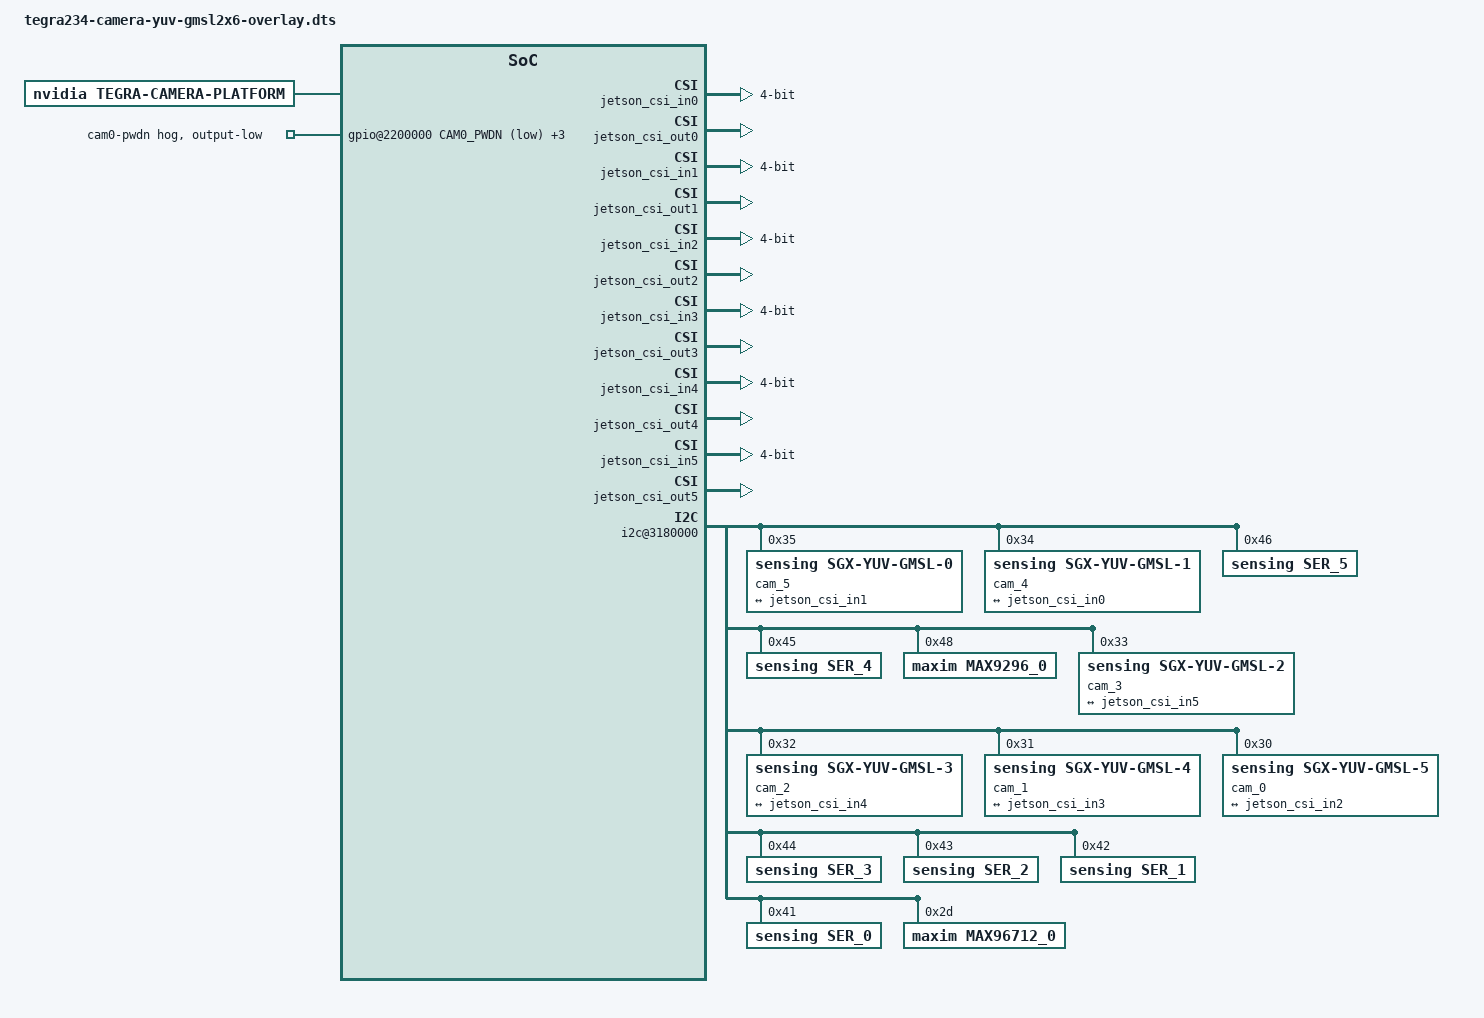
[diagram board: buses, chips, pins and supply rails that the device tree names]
// SPDX-License-Identifier: GPL-2.0-only
// SPDX-FileCopyrightText: Copyright (c) 2018-2023, INTEL CORPORATION.  All rights reserved.

/dts-v1/;
/plugin/;

#include <dt-bindings/clock/tegra234-clock.h>
#include <dt-bindings/tegra234-p3767-0000-common.h>

// #define CAM0_PWDN	TEGRA234_MAIN_GPIO(H, 6)
// #define CAM1_PWDN	TEGRA234_MAIN_GPIO(AC, 0)
// #define CAM_I2C_MUX 	TEGRA234_AON_GPIO(CC, 3)

//For gpio@2200000
#define CAM0_RST_L	TEGRA234_MAIN_GPIO(H, 3)   //DER PWDNB
#define CAM0_PWDN	TEGRA234_MAIN_GPIO(H, 6)
#define CAM1_RST_L	TEGRA234_MAIN_GPIO(AC, 1)
#define CAM1_PWDN	TEGRA234_MAIN_GPIO(AC, 0)

//For syn tirgger
#define CAM_FSYNC_GPIO12	TEGRA234_MAIN_GPIO(N, 1)
//For PPS
#define PPS_GPIO_GPIO13	TEGRA234_MAIN_GPIO(H, 0)

// For wifi
#define WLAN_PWDN	TEGRA234_MAIN_GPIO(Y, 3)
#define WLAN_RESET	TEGRA234_MAIN_GPIO(Q, 6)

/* camera control gpio definitions */
/ {
	overlay-name = "Jetson Sensing YUV GMSL2 x6";
	jetson-header-name = "Jetson 24pin CSI Connector";
	compatible = JETSON_COMPATIBLE_P3768;

	fragment@0 {
		target-path = "/";
		__overlay__ {
			tegra-capture-vi {
				num-channels = <6>;
				ports {
					status = "okay";
					port@0 {
						reg = <0>;
						status = "okay";
						jetson_vi_in0: endpoint {
							status = "okay";
							vc-id = <0>;
							port-index = <0>;
							bus-width = <4>;
							remote-endpoint = <&jetson_csi_out0>;
						};
					};
					port@1 {
						reg = <1>;
						status = "okay";
						jetson_vi_in1: endpoint {
							status = "okay";
							vc-id = <1>;
							port-index = <0>;
							bus-width = <4>;
							remote-endpoint = <&jetson_csi_out1>;
						};
					};
					port@2 {
						reg = <2>;
						status = "okay";
						jetson_vi_in2: endpoint {
							status = "okay";
							vc-id = <0>;
							port-index = <2>;
							bus-width = <4>;
							remote-endpoint = <&jetson_csi_out2>;
						};
					};
					port@3 {
						reg = <3>;
						status = "okay";
						jetson_vi_in3: endpoint {
							status = "okay";
							vc-id = <1>;
							port-index = <2>;
							bus-width = <4>;
							remote-endpoint = <&jetson_csi_out3>;
						};
					};
					port@4 {
						reg = <4>;
						status = "okay";
						jetson_vi_in4: endpoint {
							status = "okay";
							vc-id = <2>;
							port-index = <2>;
							bus-width = <4>;
							remote-endpoint = <&jetson_csi_out4>;
						};
					};
					port@5 {
						reg = <5>;
						status = "okay";
						jetson_vi_in5: endpoint {
							status = "okay";
							vc-id = <3>;
							port-index = <2>;
							bus-width = <4>;
							remote-endpoint = <&jetson_csi_out5>;
						};
					};
				};
			};
			
			tegra-camera-platform {
				compatible = "nvidia, tegra-camera-platform";

				num_csi_lanes = <8>;
				max_lane_speed = <4000000>;
				min_bits_per_pixel = <10>;
				vi_peak_byte_per_pixel = <2>;
				vi_bw_margin_pct = <25>;
				max_pixel_rate = <7500000>;
				isp_peak_byte_per_pixel = <5>;
				isp_bw_margin_pct = <25>;

				modules {
					status = "okay";
					module0 {
						status = "okay";
						badge = "cam0_bottomleft";
						position = "bottomleft";
						orientation = "1";
						drivernode0 {
							status = "okay";
							pcl_id = "v4l2_sensor";
							sysfs-device-tree = "/sys/firmware/devicetree/base/bus@0/i2c@3180000/cam_0@30";
						};
					};
					module1 {
						status = "okay";
						badge = "cam1_bottomright";
						position = "bottomright";
						orientation = "1";
						drivernode0 {
							status = "okay";
							pcl_id = "v4l2_sensor";
							sysfs-device-tree = "/sys/firmware/devicetree/base/bus@0/i2c@3180000/cam_1@31";
						};
					};
					module2 {
						status = "okay";
						badge = "cam2_centerleft";
						position = "centerleft";
						orientation = "1";
						drivernode0 {
							status = "okay";
							pcl_id = "v4l2_sensor";
							sysfs-device-tree = "/sys/firmware/devicetree/base/bus@0/i2c@3180000/cam_2@32";
						};
					};
					module3 {
						status = "okay";
						badge = "cam3_centerright";
						position = "centerright";
						orientation = "1";
						drivernode0 {
							status = "okay";
							pcl_id = "v4l2_sensor";
							sysfs-device-tree = "/sys/firmware/devicetree/base/bus@0/i2c@3180000/cam_3@33";
						};
					};
					module4 {
						status = "okay";
						badge = "cam4_topleft";
						position = "topleft";
						orientation = "1";
						drivernode0 {
							status = "okay";
							pcl_id = "v4l2_sensor";
							sysfs-device-tree = "/sys/firmware/devicetree/base/bus@0/i2c@3180000/cam_4@34";
						};
					};
					module5 {
						status = "okay";
						badge = "cam5_topright";
						position = "topright";
						orientation = "1";
						drivernode0 {
							status = "okay";
							pcl_id = "v4l2_sensor";
							sysfs-device-tree = "/sys/firmware/devicetree/base/bus@0/i2c@3180000/cam_5@35";
						};
					};
				};
			};

			bus@0 {
				/* set camera gpio direction to output */
				gpio@2200000 {
					camera-control-output-low {
						gpio-hog;
						output-low;
						gpios = <CAM0_PWDN 1 CAM1_PWDN 1 WLAN_PWDN 1 WLAN_RESET 1>;
						label = "cam0-pwdn", "cam1-pwdn", "wlan-pwdn", "wlan-reset";
					};
				};

				// pps {
    			//     gpios = <&tegra_main_gpio PPS_GPIO_GPIO13 GPIO_ACTIVE_HIGH>;                 
    			//     compatible = "pps-gpio";
    			//     status = "okay";
    			// };

				host1x@13e00000 {
					nvcsi@15a00000 {
						num-channels = <6>;
						#address-cells = <1>;
						#size-cells = <0>;
						channel@0 {
							reg = <0>;
							status = "okay";
							ports {
								#address-cells = <1>;
								#size-cells = <0>;
								status = "okay";
								port@0 {
									reg = <0>;
									status = "okay";
									jetson_csi_in0: endpoint@0 {
										status = "okay";
										port-index = <0>;
										bus-width = <4>;
										remote-endpoint = <&cam_csi_out0>;
									};
								};
								port@1 {
									reg = <1>;
									status = "okay";
									jetson_csi_out0: endpoint@1 {
										status = "okay";
										remote-endpoint = <&jetson_vi_in0>;
									};
								};
							};
						};
						channel@1 {
							reg = <1>;
							status = "okay";
							ports {
								status = "okay";
								port@0 {
									reg = <0>;
									status = "okay";
									jetson_csi_in1: endpoint@2 {
										status = "okay";
										port-index = <0>;
										bus-width = <4>;
										remote-endpoint = <&cam_csi_out1>;
									};
								};
								port@1 {
									reg = <1>;
									status = "okay";
									jetson_csi_out1: endpoint@3 {
										status = "okay";
										remote-endpoint = <&jetson_vi_in1>;
									};
								};
							};
						};
						channel@2 {
							reg = <2>;
							status = "okay";
							ports {
								status = "okay";
								port@0 {
									reg = <0>;
									status = "okay";
									jetson_csi_in2: endpoint@4 {
										status = "okay";
										port-index = <2>;
										bus-width = <4>;
										remote-endpoint = <&cam_csi_out2>;
									};
								};
								port@1 {
									reg = <1>;
									status = "okay";
									jetson_csi_out2: endpoint@5 {
										status = "okay";
										remote-endpoint = <&jetson_vi_in2>;
									};
								};
							};
						};
						channel@3 {
							reg = <3>;
							status = "okay";
							ports {
								status = "okay";
								port@0 {
									reg = <0>;
									status = "okay";
									jetson_csi_in3: endpoint@6 {
										status = "okay";
										port-index = <2>;
										bus-width = <4>;
										remote-endpoint = <&cam_csi_out3>;
									};
								};
								port@1 {
									reg = <1>;
									status = "okay";
									jetson_csi_out3: endpoint@7 {
										status = "okay";
										remote-endpoint = <&jetson_vi_in3>;
									};
								};
							};
						};
						channel@4 {
							reg = <4>;
							status = "okay";
							ports {
								status = "okay";
								port@0 {
									reg = <0>;
									status = "okay";
									jetson_csi_in4: endpoint@8 {
										status = "okay";
										port-index = <2>;
										bus-width = <4>;
										remote-endpoint = <&cam_csi_out4>;
									};
								};
								port@1 {
									reg = <1>;
									status = "okay";
									jetson_csi_out4: endpoint@9 {
										status = "okay";
										remote-endpoint = <&jetson_vi_in4>;
									};
								};
							};
						};
						channel@5 {
							reg = <5>;
							status = "okay";
							ports {
								status = "okay";
								port@0 {
									reg = <0>;
									status = "okay";
									jetson_csi_in5: endpoint@10 {
										status = "okay";
										port-index = <2>;
										bus-width = <4>;
										remote-endpoint = <&cam_csi_out5>;
									};
								};
								port@1 {
									reg = <1>;
									status = "okay";
									jetson_csi_out5: endpoint@11 {
										status = "okay";
										remote-endpoint = <&jetson_vi_in5>;
									};
								};
							};
						};
					};
				};
				
				i2c@3180000 {
					status = "okay";
					
					cam_5@35 {
						/* Define any required hw resources needed by driver */
						/* ie. clocks, io pins, power sources */
						clocks = <&bpmp TEGRA234_CLK_EXTPERIPH1>,
							<&bpmp TEGRA234_CLK_EXTPERIPH1>;
						clock-names = "extperiph1", "pllp_grtba";
						mclk = "extperiph1";
						der_id = <0>;//

						compatible = "sensing,sgx-yuv-gmsl-0";
						def-addr = <0x1a>;
						reg = <0x35>;
						devnode = "video5";
			
						/* Physical dimensions of sensor */
						physical_w = "15.0";
						physical_h = "12.5";
			
						sensor_model ="sgx-yuv-gmsl";
						//sync_sensor = "HAWK1";
						//sync_sensor_index = <1>;
			
						/* Defines number of frames to be dropped by driver internally after applying */
						/* sensor crop settings. Some sensors send corrupt frames after applying */
						/* crop co-ordinates */
						post_crop_frame_drop = "0";
			
						/* Convert Gain to unit of dB (decibel) befor passing to kernel driver */
						use_decibel_gain = "true";
			
						/* enable CID_SENSOR_MODE_ID for sensor modes selection */
						use_sensor_mode_id = "true";
			
						mode0 {/*mode 1280x720@30fps*/
							mclk_khz = "24000";
							num_lanes = "4";
							tegra_sinterface = "serial_a";
							phy_mode = "DPHY";
							vc_id = "1";
							discontinuous_clk = "no";
							dpcm_enable = "false";
							cil_settletime = "0";
							lane_polarity = "6";
							dynamic_pixel_bit_depth = "16";
							csi_pixel_bit_depth = "16";
							mode_type = "yuv";
							pixel_phase = "uyvy";
			
							active_w = "1280";
							active_h = "720";
							readout_orientation = "0";
							line_length = "1280";
							inherent_gain = "1";
							pix_clk_hz = "240000000";
							serdes_pix_clk_hz = "350000000";
			
							gain_factor = "100";
							min_gain_val = "100"; /* dB */
							max_gain_val = "1600"; /* dB */
							step_gain_val = "1"; /* 0.1 */
							default_gain = "100";
							min_hdr_ratio = "1";
							max_hdr_ratio = "1";
							framerate_factor = "1000000";
							min_framerate = "30000000";
							max_framerate = "30000000";
							step_framerate = "1";
							default_framerate = "30000000";
							exposure_factor = "1000000";
							min_exp_time = "28"; /*us, 2 lines*/
							max_exp_time = "22000";
							step_exp_time = "1";
							default_exp_time = "22000";/* us */
							embedded_metadata_height = "0";
						};
						mode1 {/*mode 1920x1080@30fps*/
							mclk_khz = "24000";
							num_lanes = "4";
							tegra_sinterface = "serial_a";
							phy_mode = "DPHY";
							vc_id = "1";
							discontinuous_clk = "no";
							dpcm_enable = "false";
							cil_settletime = "0";
							lane_polarity = "6";
							dynamic_pixel_bit_depth = "16";
							csi_pixel_bit_depth = "16";
							mode_type = "yuv";
							pixel_phase = "uyvy";
							
							active_w = "1920";
							active_h = "1080";
							readout_orientation = "0";
							line_length = "2200";
							inherent_gain = "1";
							pix_clk_hz = "200000000";
							serdes_pix_clk_hz = "350000000";
			
							gain_factor = "10";
							min_gain_val = "1"; /* dB */
							max_gain_val = "300"; /* dB */
							step_gain_val = "3"; /* 0.3 */
							default_gain = "1";
							min_hdr_ratio = "1";
							max_hdr_ratio = "1";
							framerate_factor = "1000000";
							min_framerate = "30000000";
							max_framerate = "30000000";
							step_framerate = "1";
							default_framerate = "30000000";
							exposure_factor = "1000000";
							min_exp_time = "59"; /*us, 2 lines*/
							max_exp_time = "33333";
							step_exp_time = "1";
							default_exp_time = "33333";/* us */
							embedded_metadata_height = "0";
						};
						mode2 {/*mode 1920x1536@30fps*/
							mclk_khz = "24000";
							num_lanes = "4";
							tegra_sinterface = "serial_a";
							phy_mode = "DPHY";
							vc_id = "1";
							discontinuous_clk = "no";
							dpcm_enable = "false";
							cil_settletime = "0";
							lane_polarity = "6";
							dynamic_pixel_bit_depth = "16";
							csi_pixel_bit_depth = "16";
							mode_type = "yuv";
							pixel_phase = "uyvy";

							active_w = "1920";
							active_h = "1536";
							readout_orientation = "0";
							line_length = "1920";
							inherent_gain = "1";
							//mclk_multiplier = "3.01";
							pix_clk_hz = "300000000";
							serdes_pix_clk_hz = "350000000";

							gain_factor = "100";
							min_gain_val = "100"; /* dB */
							max_gain_val = "1600"; /* dB */
							step_gain_val = "1"; /* 0.1 */
							default_gain = "100";
							min_hdr_ratio = "1";
							max_hdr_ratio = "1";
							framerate_factor = "1000000";
							min_framerate = "30000000";
							max_framerate = "30000000";
							step_framerate = "1";
							default_framerate = "30000000";
							exposure_factor = "1000000";
							min_exp_time = "28"; /*us, 2 lines*/
							max_exp_time = "22000";
							step_exp_time = "1";
							default_exp_time = "22000";/* us */
							embedded_metadata_height = "0";
						};
						mode3 {//sg2-gmsl2-gw5xxx(2880*1680)
							mclk_khz = "24000";
							num_lanes = "4";
							tegra_sinterface = "serial_a";
							phy_mode = "DPHY";
							vc_id = "1";
							discontinuous_clk = "no";
							dpcm_enable = "false";
							cil_settletime = "0";
							lane_polarity = "6";
							dynamic_pixel_bit_depth = "16";
							csi_pixel_bit_depth = "16";
							mode_type = "yuv";
							pixel_phase = "uyvy";

							active_w = "2880";
							active_h = "1860";
							readout_orientation = "0";
							line_length = "2880";
							inherent_gain = "1";
							pix_clk_hz = "350000000";
							serdes_pix_clk_hz = "400000000";

							gain_factor = "10";
							min_gain_val = "10"; /* dB */
							max_gain_val = "300"; /* dB */
							step_gain_val = "3"; /* 0.3 */
							default_gain = "10";
							min_hdr_ratio = "1";
							max_hdr_ratio = "1";
							framerate_factor = "1000000";
							min_framerate = "30000000";
							max_framerate = "30000000";
							step_framerate = "1";
							default_framerate = "30000000";
							exposure_factor = "1000000";
							min_exp_time = "59"; /*us, 2 lines*/
							max_exp_time = "33333";
							step_exp_time = "1";
							default_exp_time = "33333";/* us */
							embedded_metadata_height = "0";
						};
						mode4 {//sg2-gmsl2-gw5xxx(3840*2160)
							mclk_khz = "24000";
							num_lanes = "4";
							tegra_sinterface = "serial_a";
							vc_id = "1";
							discontinuous_clk = "no";
							dpcm_enable = "false";
							cil_settletime = "0";
							lane_polarity = "6";
							dynamic_pixel_bit_depth = "16";
							csi_pixel_bit_depth = "16";
							mode_type = "yuv";
							pixel_phase = "uyvy";

							active_w = "3840";
							active_h = "2160";
							readout_orientation = "0";
							line_length = "4200";
							inherent_gain = "1";
							pix_clk_hz = "320000000";
							serdes_pix_clk_hz = "700000000";

							gain_factor = "10";
							min_gain_val = "10"; /* dB */
							max_gain_val = "300"; /* dB */
							step_gain_val = "3"; /* 0.3 */
							default_gain = "10";
							min_hdr_ratio = "1";
							max_hdr_ratio = "1";
							framerate_factor = "1000000";
							min_framerate = "30000000";
							max_framerate = "30000000";
							step_framerate = "1";
							default_framerate = "30000000";
							exposure_factor = "1000000";
							min_exp_time = "59"; /*us, 2 lines*/
							max_exp_time = "33333";
							step_exp_time = "1";
							default_exp_time = "33333";/* us */
							embedded_metadata_height = "0";
						};
						ports {
							#address-cells = <1>;
							#size-cells = <0>;
							port@0 {
								reg = <0>;
								cam_csi_out1: endpoint {
									vc-id = <1>;
									port-index = <0>;
									bus-width = <4>;
									remote-endpoint = <&jetson_csi_in1>;
								};
							};
						};
					};

					cam_4@34 {
						/* Define any required hw resources needed by driver */
						/* ie. clocks, io pins, power sources */
						clocks = <&bpmp TEGRA234_CLK_EXTPERIPH1>,
							<&bpmp TEGRA234_CLK_EXTPERIPH1>;
						clock-names = "extperiph1", "pllp_grtba";
						mclk = "extperiph1";
						der_id = <0>;//

						compatible = "sensing,sgx-yuv-gmsl-1";
						def-addr = <0x1a>;
						reg = <0x34>;
						devnode = "video4";
			
						/* Physical dimensions of sensor */
						physical_w = "15.0";
						physical_h = "12.5";
			
						sensor_model ="sgx-yuv-gmsl";
						//sync_sensor = "HAWK1";
						//sync_sensor_index = <1>;
			
						/* Defines number of frames to be dropped by driver internally after applying */
						/* sensor crop settings. Some sensors send corrupt frames after applying */
						/* crop co-ordinates */
						post_crop_frame_drop = "0";
			
						/* Convert Gain to unit of dB (decibel) befor passing to kernel driver */
						use_decibel_gain = "true";
			
						/* enable CID_SENSOR_MODE_ID for sensor modes selection */
						use_sensor_mode_id = "true";
			
						mode0 {/*mode 1280x720@30fps*/
							mclk_khz = "24000";
							num_lanes = "4";
							tegra_sinterface = "serial_a";
							phy_mode = "DPHY";
							vc_id = "0";
							discontinuous_clk = "no";
							dpcm_enable = "false";
							cil_settletime = "0";
							lane_polarity = "6";
							dynamic_pixel_bit_depth = "16";
							csi_pixel_bit_depth = "16";
							mode_type = "yuv";
							pixel_phase = "uyvy";
			
							active_w = "1280";
							active_h = "720";
							readout_orientation = "0";
							line_length = "1280";
							inherent_gain = "1";
							pix_clk_hz = "240000000";
							serdes_pix_clk_hz = "350000000";
			
							gain_factor = "100";
							min_gain_val = "100"; /* dB */
							max_gain_val = "1600"; /* dB */
							step_gain_val = "1"; /* 0.1 */
							default_gain = "100";
							min_hdr_ratio = "1";
							max_hdr_ratio = "1";
							framerate_factor = "1000000";
							min_framerate = "30000000";
							max_framerate = "30000000";
							step_framerate = "1";
							default_framerate = "30000000";
							exposure_factor = "1000000";
							min_exp_time = "28"; /*us, 2 lines*/
							max_exp_time = "22000";
							step_exp_time = "1";
							default_exp_time = "22000";/* us */
							embedded_metadata_height = "0";
						};
						mode1 {/*mode 1920x1080@30fps*/
							mclk_khz = "24000";
							num_lanes = "4";
							tegra_sinterface = "serial_a";
							phy_mode = "DPHY";
							vc_id = "0";
							discontinuous_clk = "no";
							dpcm_enable = "false";
							cil_settletime = "0";
							lane_polarity = "6";
							dynamic_pixel_bit_depth = "16";
							csi_pixel_bit_depth = "16";
							mode_type = "yuv";
							pixel_phase = "uyvy";
							
							active_w = "1920";
							active_h = "1080";
							readout_orientation = "0";
							line_length = "2200";
							inherent_gain = "1";
							pix_clk_hz = "200000000";
							serdes_pix_clk_hz = "350000000";
			
							gain_factor = "10";
							min_gain_val = "1"; /* dB */
							max_gain_val = "300"; /* dB */
							step_gain_val = "3"; /* 0.3 */
							default_gain = "1";
							min_hdr_ratio = "1";
							max_hdr_ratio = "1";
							framerate_factor = "1000000";
							min_framerate = "30000000";
							max_framerate = "30000000";
							step_framerate = "1";
							default_framerate = "30000000";
							exposure_factor = "1000000";
							min_exp_time = "59"; /*us, 2 lines*/
							max_exp_time = "33333";
							step_exp_time = "1";
							default_exp_time = "33333";/* us */
							embedded_metadata_height = "0";
						};
						mode2 {/*mode 1920x1536@30fps*/
							mclk_khz = "24000";
							num_lanes = "4";
							tegra_sinterface = "serial_a";
							phy_mode = "DPHY";
							vc_id = "0";
							discontinuous_clk = "no";
							dpcm_enable = "false";
							cil_settletime = "0";
							lane_polarity = "6";
							dynamic_pixel_bit_depth = "16";
							csi_pixel_bit_depth = "16";
							mode_type = "yuv";
							pixel_phase = "uyvy";

							active_w = "1920";
							active_h = "1536";
							readout_orientation = "0";
							line_length = "1920";
							inherent_gain = "1";
							//mclk_multiplier = "3.01";
							pix_clk_hz = "300000000";
							serdes_pix_clk_hz = "350000000";

							gain_factor = "100";
							min_gain_val = "100"; /* dB */
							max_gain_val = "1600"; /* dB */
							step_gain_val = "1"; /* 0.1 */
							default_gain = "100";
							min_hdr_ratio = "1";
							max_hdr_ratio = "1";
							framerate_factor = "1000000";
							min_framerate = "30000000";
							max_framerate = "30000000";
							step_framerate = "1";
							default_framerate = "30000000";
							exposure_factor = "1000000";
							min_exp_time = "28"; /*us, 2 lines*/
							max_exp_time = "22000";
							step_exp_time = "1";
							default_exp_time = "22000";/* us */
							embedded_metadata_height = "0";
						};
						mode3 {//sg2-gmsl2-gw5xxx(2880*1680)
							mclk_khz = "24000";
							num_lanes = "4";
							tegra_sinterface = "serial_a";
							phy_mode = "DPHY";
							vc_id = "0";
							discontinuous_clk = "no";
							dpcm_enable = "false";
							cil_settletime = "0";
							lane_polarity = "6";
							dynamic_pixel_bit_depth = "16";
							csi_pixel_bit_depth = "16";
							mode_type = "yuv";
							pixel_phase = "uyvy";

							active_w = "2880";
							active_h = "1860";
							readout_orientation = "0";
							line_length = "2880";
							inherent_gain = "1";
							pix_clk_hz = "350000000";
							serdes_pix_clk_hz = "400000000";

							gain_factor = "10";
							min_gain_val = "10"; /* dB */
							max_gain_val = "300"; /* dB */
							step_gain_val = "3"; /* 0.3 */
							default_gain = "10";
							min_hdr_ratio = "1";
							max_hdr_ratio = "1";
							framerate_factor = "1000000";
							min_framerate = "30000000";
							max_framerate = "30000000";
							step_framerate = "1";
							default_framerate = "30000000";
							exposure_factor = "1000000";
							min_exp_time = "59"; /*us, 2 lines*/
							max_exp_time = "33333";
							step_exp_time = "1";
							default_exp_time = "33333";/* us */
							embedded_metadata_height = "0";
						};
						mode4 {//sg2-gmsl2-gw5xxx(3840*2160)
							mclk_khz = "24000";
							num_lanes = "4";
							tegra_sinterface = "serial_a";
							vc_id = "0";
							discontinuous_clk = "no";
							dpcm_enable = "false";
							cil_settletime = "0";
							lane_polarity = "6";
							dynamic_pixel_bit_depth = "16";
							csi_pixel_bit_depth = "16";
							mode_type = "yuv";
							pixel_phase = "uyvy";

							active_w = "3840";
							active_h = "2160";
							readout_orientation = "0";
							line_length = "4200";
							inherent_gain = "1";
							pix_clk_hz = "320000000";
							serdes_pix_clk_hz = "700000000";

							gain_factor = "10";
							min_gain_val = "10"; /* dB */
							max_gain_val = "300"; /* dB */
							step_gain_val = "3"; /* 0.3 */
							default_gain = "10";
							min_hdr_ratio = "1";
							max_hdr_ratio = "1";
							framerate_factor = "1000000";
							min_framerate = "30000000";
							max_framerate = "30000000";
							step_framerate = "1";
							default_framerate = "30000000";
							exposure_factor = "1000000";
							min_exp_time = "59"; /*us, 2 lines*/
							max_exp_time = "33333";
							step_exp_time = "1";
							default_exp_time = "33333";/* us */
							embedded_metadata_height = "0";
						};
						ports {
							#address-cells = <1>;
							#size-cells = <0>;
							port@0 {
								reg = <0>;
								cam_csi_out0: endpoint {
									vc-id = <0>;
									port-index = <0>;
									bus-width = <4>;
									remote-endpoint = <&jetson_csi_in0>;
								};
							};
						};
					};

					ser_5@46 {
						compatible = "sensing,ser_5";
						reg = <0x46>;
						def_addr = <0x40>;
					};

					ser_4@45 {
						compatible = "sensing,ser_4";
						reg = <0x45>;
						def_addr = <0x40>;
					};

					max9296_0@48 {
						compatible = "maxim,max9296_0";
						// reset-gpios = <&tegra_main_gpio CAM1_RST_L GPIO_ACTIVE_HIGH>;
						// poc-gpios = <&tegra_aon_gpio POC_EN GPIO_ACTIVE_LOW>;
						reg = <0x48>;
					};

					cam_3@33 {
						/* Define any required hw resources needed by driver */
						/* ie. clocks, io pins, power sources */
						clocks = <&bpmp TEGRA234_CLK_EXTPERIPH1>,
							<&bpmp TEGRA234_CLK_EXTPERIPH1>;
						clock-names = "extperiph1", "pllp_grtba";
						mclk = "extperiph1";
						der_id = <0>;//
						ser_id = <3>;			
						compatible = "sensing,sgx-yuv-gmsl-2";
						def-addr = <0x1a>;
						reg = <0x33>;
						devnode = "video3";

						/* Physical dimensions of sensor */
						physical_w = "15.0";
						physical_h = "12.5";

						sensor_model ="sgx-yuv-gmsl";
						//sync_sensor = "HAWK1";
						//sync_sensor_index = <1>;

						/* Defines number of frames to be dropped by driver internally after applying */
						/* sensor crop settings. Some sensors send corrupt frames after applying */
						/* crop co-ordinates */
						post_crop_frame_drop = "0";

						/* Convert Gain to unit of dB (decibel) befor passing to kernel driver */
						use_decibel_gain = "true";

						/* enable CID_SENSOR_MODE_ID for sensor modes selection */
						use_sensor_mode_id = "true";

						mode0 {/*mode 1280x720@30fps*/
							mclk_khz = "24000";
							num_lanes = "4";
							tegra_sinterface = "serial_c";
							phy_mode = "DPHY";
							vc_id = "3";
							discontinuous_clk = "no";
							dpcm_enable = "false";
							cil_settletime = "0";
							lane_polarity = "0";
							dynamic_pixel_bit_depth = "16";
							csi_pixel_bit_depth = "16";
							mode_type = "yuv";
							pixel_phase = "uyvy";

							active_w = "1280";
							active_h = "720";
							readout_orientation = "0";
							line_length = "1280";
							inherent_gain = "1";
							pix_clk_hz = "240000000";
							serdes_pix_clk_hz = "350000000";

							gain_factor = "100";
							min_gain_val = "100"; /* dB */
							max_gain_val = "1600"; /* dB */
							step_gain_val = "1"; /* 0.1 */
							default_gain = "100";
							min_hdr_ratio = "1";
							max_hdr_ratio = "1";
							framerate_factor = "1000000";
							min_framerate = "30000000";
							max_framerate = "30000000";
							step_framerate = "1";
							default_framerate = "30000000";
							exposure_factor = "1000000";
							min_exp_time = "28"; /*us, 2 lines*/
							max_exp_time = "22000";
							step_exp_time = "1";
							default_exp_time = "22000";/* us */
							embedded_metadata_height = "0";
						};
						mode1 {/*mode 1920x1080@30fps*/
							mclk_khz = "24000";
							num_lanes = "4";
							tegra_sinterface = "serial_c";
							phy_mode = "DPHY";
							vc_id = "3";
							discontinuous_clk = "no";
							dpcm_enable = "false";
							cil_settletime = "0";
							lane_polarity = "0";
							dynamic_pixel_bit_depth = "16";
							csi_pixel_bit_depth = "16";
							mode_type = "yuv";
							pixel_phase = "uyvy";

							active_w = "1920";
							active_h = "1080";
							readout_orientation = "0";
							line_length = "2200";
							inherent_gain = "1";
							pix_clk_hz = "200000000";
							serdes_pix_clk_hz = "350000000";

							gain_factor = "10";
							min_gain_val = "1"; /* dB */
							max_gain_val = "300"; /* dB */
							step_gain_val = "3"; /* 0.3 */
							default_gain = "1";
							min_hdr_ratio = "1";
							max_hdr_ratio = "1";
							framerate_factor = "1000000";
							min_framerate = "30000000";
							max_framerate = "30000000";
							step_framerate = "1";
							default_framerate = "30000000";
							exposure_factor = "1000000";
							min_exp_time = "59"; /*us, 2 lines*/
							max_exp_time = "33333";
							step_exp_time = "1";
							default_exp_time = "33333";/* us */
							embedded_metadata_height = "0";
						};
						mode2 {/*mode 1920x1536@30fps*/
							mclk_khz = "24000";
							num_lanes = "4";
							tegra_sinterface = "serial_c";
							phy_mode = "DPHY";
							vc_id = "3";
							discontinuous_clk = "no";
							dpcm_enable = "false";
							cil_settletime = "0";
							lane_polarity = "0";
							dynamic_pixel_bit_depth = "16";
							csi_pixel_bit_depth = "16";
							mode_type = "yuv";
							pixel_phase = "uyvy";

							active_w = "1920";
							active_h = "1536";
							readout_orientation = "0";
							line_length = "1920";
							inherent_gain = "1";
							//mclk_multiplier = "3.01";
							pix_clk_hz = "300000000";
							serdes_pix_clk_hz = "350000000";

							gain_factor = "100";
							min_gain_val = "100"; /* dB */
							max_gain_val = "1600"; /* dB */
							step_gain_val = "1"; /* 0.1 */
							default_gain = "100";
							min_hdr_ratio = "1";
							max_hdr_ratio = "1";
							framerate_factor = "1000000";
							min_framerate = "30000000";
							max_framerate = "30000000";
							step_framerate = "1";
							default_framerate = "30000000";
							exposure_factor = "1000000";
							min_exp_time = "28"; /*us, 2 lines*/
							max_exp_time = "22000";
							step_exp_time = "1";
							default_exp_time = "22000";/* us */
							embedded_metadata_height = "0";
						};
						mode3 {//(2880*1680)
							mclk_khz = "24000";
							num_lanes = "4";
							tegra_sinterface = "serial_c";
							phy_mode = "DPHY";
							vc_id = "3";
							discontinuous_clk = "no";
							dpcm_enable = "false";
							cil_settletime = "0";
							lane_polarity = "0";
							dynamic_pixel_bit_depth = "16";
							csi_pixel_bit_depth = "16";
							mode_type = "yuv";
							pixel_phase = "uyvy";
							active_w = "2880";
							active_h = "1860";
							readout_orientation = "0";
							line_length = "2880";
							inherent_gain = "1";
							pix_clk_hz = "350000000";
							serdes_pix_clk_hz = "625000000";
							gain_factor = "10";
							min_gain_val = "10"; /* dB */
							max_gain_val = "300"; /* dB */
							step_gain_val = "3"; /* 0.3 */
							default_gain = "10";
							min_hdr_ratio = "1";
							max_hdr_ratio = "1";
							framerate_factor = "1000000";
							min_framerate = "30000000";
							max_framerate = "30000000";
							step_framerate = "1";
							default_framerate = "30000000";
							exposure_factor = "1000000";
							min_exp_time = "59"; /*us, 2 lines*/
							max_exp_time = "33333";
							step_exp_time = "1";
							default_exp_time = "33333";/* us */
							embedded_metadata_height = "0";
						};
						mode4 {//(3840*2160)
							mclk_khz = "24000";
							num_lanes = "4";
							tegra_sinterface = "serial_c";
							vc_id = "3";
							discontinuous_clk = "no";
							dpcm_enable = "false";
							cil_settletime = "0";
							lane_polarity = "0";
							dynamic_pixel_bit_depth = "16";
							csi_pixel_bit_depth = "16";
							mode_type = "yuv";
							pixel_phase = "uyvy";

							active_w = "3840";
							active_h = "2160";
							readout_orientation = "0";
							line_length = "4200";
							inherent_gain = "1";
							pix_clk_hz = "320000000";
							serdes_pix_clk_hz = "700000000";

							gain_factor = "10";
							min_gain_val = "10"; /* dB */
							max_gain_val = "300"; /* dB */
							step_gain_val = "3"; /* 0.3 */
							default_gain = "10";
							min_hdr_ratio = "1";
							max_hdr_ratio = "1";
							framerate_factor = "1000000";
							min_framerate = "30000000";
							max_framerate = "30000000";
							step_framerate = "1";
							default_framerate = "30000000";
							exposure_factor = "1000000";
							min_exp_time = "59"; /*us, 2 lines*/
							max_exp_time = "33333";
							step_exp_time = "1";
							default_exp_time = "33333";/* us */
							embedded_metadata_height = "0";
						};
						ports {
							#address-cells = <1>;
							#size-cells = <0>;
							port@0 {
								reg = <0>;
								cam_csi_out5: endpoint {
									vc-id = <3>;
									port-index = <2>;
									bus-width = <4>;
									remote-endpoint = <&jetson_csi_in5>;
								};
							};
						};
					};

					cam_2@32 {
						/* Define any required hw resources needed by driver */
						/* ie. clocks, io pins, power sources */
						clocks = <&bpmp TEGRA234_CLK_EXTPERIPH1>,
							<&bpmp TEGRA234_CLK_EXTPERIPH1>;
						clock-names = "extperiph1", "pllp_grtba";
						mclk = "extperiph1";
						der_id = <0>;//
						ser_id = <2>;//

						compatible = "sensing,sgx-yuv-gmsl-3";
						def-addr = <0x1a>;
						reg = <0x32>;
						devnode = "video2";
			
						/* Physical dimensions of sensor */
						physical_w = "15.0";
						physical_h = "12.5";
			
						sensor_model ="sgx-yuv-gmsl";
						//sync_sensor = "HAWK1";
						//sync_sensor_index = <1>;
			
						/* Defines number of frames to be dropped by driver internally after applying */
						/* sensor crop settings. Some sensors send corrupt frames after applying */
						/* crop co-ordinates */
						post_crop_frame_drop = "0";
			
						/* Convert Gain to unit of dB (decibel) befor passing to kernel driver */
						use_decibel_gain = "true";
			
						/* enable CID_SENSOR_MODE_ID for sensor modes selection */
						use_sensor_mode_id = "true";
			
						mode0 {/*mode 1280x720@30fps*/
							mclk_khz = "24000";
							num_lanes = "4";
							tegra_sinterface = "serial_c";
							phy_mode = "DPHY";
							vc_id = "2";
							discontinuous_clk = "no";
							dpcm_enable = "false";
							cil_settletime = "0";
							lane_polarity = "0";
							dynamic_pixel_bit_depth = "16";
							csi_pixel_bit_depth = "16";
							mode_type = "yuv";
							pixel_phase = "uyvy";
			
							active_w = "1280";
							active_h = "720";
							readout_orientation = "0";
							line_length = "1280";
							inherent_gain = "1";
							pix_clk_hz = "240000000";
							serdes_pix_clk_hz = "350000000";
			
							gain_factor = "100";
							min_gain_val = "100"; /* dB */
							max_gain_val = "1600"; /* dB */
							step_gain_val = "1"; /* 0.1 */
							default_gain = "100";
							min_hdr_ratio = "1";
							max_hdr_ratio = "1";
							framerate_factor = "1000000";
							min_framerate = "30000000";
							max_framerate = "30000000";
							step_framerate = "1";
							default_framerate = "30000000";
							exposure_factor = "1000000";
							min_exp_time = "28"; /*us, 2 lines*/
							max_exp_time = "22000";
							step_exp_time = "1";
							default_exp_time = "22000";/* us */
							embedded_metadata_height = "0";
						};
						mode1 {/*mode 1920x1080@30fps*/
							mclk_khz = "24000";
							num_lanes = "4";
							tegra_sinterface = "serial_c";
							phy_mode = "DPHY";
							vc_id = "2";
							discontinuous_clk = "no";
							dpcm_enable = "false";
							cil_settletime = "0";
							lane_polarity = "0";
							dynamic_pixel_bit_depth = "16";
							csi_pixel_bit_depth = "16";
							mode_type = "yuv";
							pixel_phase = "uyvy";
							
							active_w = "1920";
							active_h = "1080";
							readout_orientation = "0";
							line_length = "2200";
							inherent_gain = "1";
							pix_clk_hz = "200000000";
							serdes_pix_clk_hz = "350000000";
			
							gain_factor = "10";
							min_gain_val = "1"; /* dB */
							max_gain_val = "300"; /* dB */
							step_gain_val = "3"; /* 0.3 */
							default_gain = "1";
							min_hdr_ratio = "1";
							max_hdr_ratio = "1";
							framerate_factor = "1000000";
							min_framerate = "30000000";
							max_framerate = "30000000";
							step_framerate = "1";
							default_framerate = "30000000";
							exposure_factor = "1000000";
							min_exp_time = "59"; /*us, 2 lines*/
							max_exp_time = "33333";
							step_exp_time = "1";
							default_exp_time = "33333";/* us */
							embedded_metadata_height = "0";
						};
						mode2 {/*mode 1920x1536@30fps*/
							mclk_khz = "24000";
							num_lanes = "4";
							tegra_sinterface = "serial_c";
							phy_mode = "DPHY";
							vc_id = "2";
							discontinuous_clk = "no";
							dpcm_enable = "false";
							cil_settletime = "0";
							lane_polarity = "0";
							dynamic_pixel_bit_depth = "16";
							csi_pixel_bit_depth = "16";
							mode_type = "yuv";
							pixel_phase = "uyvy";

							active_w = "1920";
							active_h = "1536";
							readout_orientation = "0";
							line_length = "1920";
							inherent_gain = "1";
							//mclk_multiplier = "3.01";
							pix_clk_hz = "300000000";
							serdes_pix_clk_hz = "350000000";

							gain_factor = "100";
							min_gain_val = "100"; /* dB */
							max_gain_val = "1600"; /* dB */
							step_gain_val = "1"; /* 0.1 */
							default_gain = "100";
							min_hdr_ratio = "1";
							max_hdr_ratio = "1";
							framerate_factor = "1000000";
							min_framerate = "30000000";
							max_framerate = "30000000";
							step_framerate = "1";
							default_framerate = "30000000";
							exposure_factor = "1000000";
							min_exp_time = "28"; /*us, 2 lines*/
							max_exp_time = "22000";
							step_exp_time = "1";
							default_exp_time = "22000";/* us */
							embedded_metadata_height = "0";
						};
						mode3 {//(2880*1680)
							mclk_khz = "24000";
							num_lanes = "4";
							tegra_sinterface = "serial_c";
							phy_mode = "DPHY";
							vc_id = "2";
							discontinuous_clk = "no";
							dpcm_enable = "false";
							cil_settletime = "0";
							lane_polarity = "0";
							dynamic_pixel_bit_depth = "16";
							csi_pixel_bit_depth = "16";
							mode_type = "yuv";
							pixel_phase = "uyvy";
							active_w = "2880";
							active_h = "1860";
							readout_orientation = "0";
							line_length = "2880";
							inherent_gain = "1";
							pix_clk_hz = "350000000";
							serdes_pix_clk_hz = "625000000";
							gain_factor = "10";
							min_gain_val = "10"; /* dB */
							max_gain_val = "300"; /* dB */
							step_gain_val = "3"; /* 0.3 */
							default_gain = "10";
							min_hdr_ratio = "1";
							max_hdr_ratio = "1";
							framerate_factor = "1000000";
							min_framerate = "30000000";
							max_framerate = "30000000";
							step_framerate = "1";
							default_framerate = "30000000";
							exposure_factor = "1000000";
							min_exp_time = "59"; /*us, 2 lines*/
							max_exp_time = "33333";
							step_exp_time = "1";
							default_exp_time = "33333";/* us */
							embedded_metadata_height = "0";
						};
						mode4 {//(3840*2160)
							mclk_khz = "24000";
							num_lanes = "4";
							tegra_sinterface = "serial_c";
							vc_id = "2";
							discontinuous_clk = "no";
							dpcm_enable = "false";
							cil_settletime = "0";
							lane_polarity = "0";
							dynamic_pixel_bit_depth = "16";
							csi_pixel_bit_depth = "16";
							mode_type = "yuv";
							pixel_phase = "uyvy";

							active_w = "3840";
							active_h = "2160";
							readout_orientation = "0";
							line_length = "4200";
							inherent_gain = "1";
							pix_clk_hz = "320000000";
							serdes_pix_clk_hz = "700000000";

							gain_factor = "10";
							min_gain_val = "10"; /* dB */
							max_gain_val = "300"; /* dB */
							step_gain_val = "3"; /* 0.3 */
							default_gain = "10";
							min_hdr_ratio = "1";
							max_hdr_ratio = "1";
							framerate_factor = "1000000";
							min_framerate = "30000000";
							max_framerate = "30000000";
							step_framerate = "1";
							default_framerate = "30000000";
							exposure_factor = "1000000";
							min_exp_time = "59"; /*us, 2 lines*/
							max_exp_time = "33333";
							step_exp_time = "1";
							default_exp_time = "33333";/* us */
							embedded_metadata_height = "0";
						};
						ports {
							#address-cells = <1>;
							#size-cells = <0>;
							port@0 {
								reg = <0>;
								cam_csi_out4: endpoint {
									vc-id = <2>;
									port-index = <2>;
									bus-width = <4>;
									remote-endpoint = <&jetson_csi_in4>;
								};
							};
						};
					};

					cam_1@31 {
						/* Define any required hw resources needed by driver */
						/* ie. clocks, io pins, power sources */
						clocks = <&bpmp TEGRA234_CLK_EXTPERIPH1>,
							<&bpmp TEGRA234_CLK_EXTPERIPH1>;
						clock-names = "extperiph1", "pllp_grtba";
						mclk = "extperiph1";
						der_id = <0>;//
						ser_id = <1>;//

						compatible = "sensing,sgx-yuv-gmsl-4";
						def-addr = <0x1a>;
						reg = <0x31>;
						devnode = "video1";

						/* Physical dimensions of sensor */
						physical_w = "15.0";
						physical_h = "12.5";

						sensor_model ="sgx-yuv-gmsl";
						//sync_sensor = "HAWK1";
						//sync_sensor_index = <1>;

						/* Defines number of frames to be dropped by driver internally after applying */
						/* sensor crop settings. Some sensors send corrupt frames after applying */
						/* crop co-ordinates */
						post_crop_frame_drop = "0";

						/* Convert Gain to unit of dB (decibel) befor passing to kernel driver */
						use_decibel_gain = "true";

						/* enable CID_SENSOR_MODE_ID for sensor modes selection */
						use_sensor_mode_id = "true";

						mode0 {/*mode 1280x720@30fps*/
							mclk_khz = "24000";
							num_lanes = "4";
							tegra_sinterface = "serial_c";
							phy_mode = "DPHY";
							vc_id = "1";
							discontinuous_clk = "no";
							dpcm_enable = "false";
							cil_settletime = "0";
							lane_polarity = "0";
							dynamic_pixel_bit_depth = "16";
							csi_pixel_bit_depth = "16";
							mode_type = "yuv";
							pixel_phase = "uyvy";

							active_w = "1280";
							active_h = "720";
							readout_orientation = "0";
							line_length = "1280";
							inherent_gain = "1";
							pix_clk_hz = "240000000";
							serdes_pix_clk_hz = "350000000";

							gain_factor = "100";
							min_gain_val = "100"; /* dB */
							max_gain_val = "1600"; /* dB */
							step_gain_val = "1"; /* 0.1 */
							default_gain = "100";
							min_hdr_ratio = "1";
							max_hdr_ratio = "1";
							framerate_factor = "1000000";
							min_framerate = "30000000";
							max_framerate = "30000000";
							step_framerate = "1";
							default_framerate = "30000000";
							exposure_factor = "1000000";
							min_exp_time = "28"; /*us, 2 lines*/
							max_exp_time = "22000";
							step_exp_time = "1";
							default_exp_time = "22000";/* us */
							embedded_metadata_height = "0";
						};
						mode1 {/*mode 1920x1080@30fps*/
							mclk_khz = "24000";
							num_lanes = "4";
							tegra_sinterface = "serial_c";
							phy_mode = "DPHY";
							vc_id = "1";
							discontinuous_clk = "no";
							dpcm_enable = "false";
							cil_settletime = "0";
							lane_polarity = "0";
							dynamic_pixel_bit_depth = "16";
							csi_pixel_bit_depth = "16";
							mode_type = "yuv";
							pixel_phase = "uyvy";

							active_w = "1920";
							active_h = "1080";
							readout_orientation = "0";
							line_length = "2200";
							inherent_gain = "1";
							pix_clk_hz = "200000000";
							serdes_pix_clk_hz = "350000000";

							gain_factor = "10";
							min_gain_val = "1"; /* dB */
							max_gain_val = "300"; /* dB */
							step_gain_val = "3"; /* 0.3 */
							default_gain = "1";
							min_hdr_ratio = "1";
							max_hdr_ratio = "1";
							framerate_factor = "1000000";
							min_framerate = "30000000";
							max_framerate = "30000000";
							step_framerate = "1";
							default_framerate = "30000000";
							exposure_factor = "1000000";
							min_exp_time = "59"; /*us, 2 lines*/
							max_exp_time = "33333";
							step_exp_time = "1";
							default_exp_time = "33333";/* us */
							embedded_metadata_height = "0";
						};
						mode2 {/*mode 1920x1536@30fps*/
							mclk_khz = "24000";
							num_lanes = "4";
							tegra_sinterface = "serial_c";
							phy_mode = "DPHY";
							vc_id = "1";
							discontinuous_clk = "no";
							dpcm_enable = "false";
							cil_settletime = "0";
							lane_polarity = "0";
							dynamic_pixel_bit_depth = "16";
							csi_pixel_bit_depth = "16";
							mode_type = "yuv";
							pixel_phase = "uyvy";

							active_w = "1920";
							active_h = "1536";
							readout_orientation = "0";
							line_length = "1920";
							inherent_gain = "1";
							//mclk_multiplier = "3.01";
							pix_clk_hz = "300000000";
							serdes_pix_clk_hz = "350000000";

							gain_factor = "100";
							min_gain_val = "100"; /* dB */
							max_gain_val = "1600"; /* dB */
							step_gain_val = "1"; /* 0.1 */
							default_gain = "100";
							min_hdr_ratio = "1";
							max_hdr_ratio = "1";
							framerate_factor = "1000000";
							min_framerate = "30000000";
							max_framerate = "30000000";
							step_framerate = "1";
							default_framerate = "30000000";
							exposure_factor = "1000000";
							min_exp_time = "28"; /*us, 2 lines*/
							max_exp_time = "22000";
							step_exp_time = "1";
							default_exp_time = "22000";/* us */
							embedded_metadata_height = "0";
						};
						mode3 {//(2880*1680)
							mclk_khz = "24000";
							num_lanes = "4";
							tegra_sinterface = "serial_c";
							phy_mode = "DPHY";
							vc_id = "1";
							discontinuous_clk = "no";
							dpcm_enable = "false";
							cil_settletime = "0";
							lane_polarity = "0";
							dynamic_pixel_bit_depth = "16";
							csi_pixel_bit_depth = "16";
							mode_type = "yuv";
							pixel_phase = "uyvy";
							active_w = "2880";
							active_h = "1860";
							readout_orientation = "0";
							line_length = "2880";
							inherent_gain = "1";
							pix_clk_hz = "350000000";
							serdes_pix_clk_hz = "625000000";
							gain_factor = "10";
							min_gain_val = "10"; /* dB */
							max_gain_val = "300"; /* dB */
							step_gain_val = "3"; /* 0.3 */
							default_gain = "10";
							min_hdr_ratio = "1";
							max_hdr_ratio = "1";
							framerate_factor = "1000000";
							min_framerate = "30000000";
							max_framerate = "30000000";
							step_framerate = "1";
							default_framerate = "30000000";
							exposure_factor = "1000000";
							min_exp_time = "59"; /*us, 2 lines*/
							max_exp_time = "33333";
							step_exp_time = "1";
							default_exp_time = "33333";/* us */
							embedded_metadata_height = "0";
						};
						mode4 {//(3840*2160)
							mclk_khz = "24000";
							num_lanes = "4";
							tegra_sinterface = "serial_c";
							vc_id = "1";
							discontinuous_clk = "no";
							dpcm_enable = "false";
							cil_settletime = "0";
							lane_polarity = "0";
							dynamic_pixel_bit_depth = "16";
							csi_pixel_bit_depth = "16";
							mode_type = "yuv";
							pixel_phase = "uyvy";

							active_w = "3840";
							active_h = "2160";
							readout_orientation = "0";
							line_length = "4200";
							inherent_gain = "1";
							pix_clk_hz = "320000000";
							serdes_pix_clk_hz = "700000000";

							gain_factor = "10";
							min_gain_val = "10"; /* dB */
							max_gain_val = "300"; /* dB */
							step_gain_val = "3"; /* 0.3 */
							default_gain = "10";
							min_hdr_ratio = "1";
							max_hdr_ratio = "1";
							framerate_factor = "1000000";
							min_framerate = "30000000";
							max_framerate = "30000000";
							step_framerate = "1";
							default_framerate = "30000000";
							exposure_factor = "1000000";
							min_exp_time = "59"; /*us, 2 lines*/
							max_exp_time = "33333";
							step_exp_time = "1";
							default_exp_time = "33333";/* us */
							embedded_metadata_height = "0";
						};
						ports {
							#address-cells = <1>;
							#size-cells = <0>;
							port@0 {
								reg = <0>;
								cam_csi_out3: endpoint {
									vc-id = <1>;
									port-index = <2>;
									bus-width = <4>;
									remote-endpoint = <&jetson_csi_in3>;
								};
							};
						};
					};

					cam_0@30 {
						/* Define any required hw resources needed by driver */
						/* ie. clocks, io pins, power sources */
						clocks = <&bpmp TEGRA234_CLK_EXTPERIPH1>,
							<&bpmp TEGRA234_CLK_EXTPERIPH1>;
						clock-names = "extperiph1", "pllp_grtba";
						mclk = "extperiph1";

						der_id = <0>;//
						ser_id = <0>;//
	
						compatible = "sensing,sgx-yuv-gmsl-5";
						def-addr = <0x1a>;
						reg = <0x30>;
						devnode = "video0";
				
						/* Physical dimensions of sensor */
						physical_w = "15.0";
						physical_h = "12.5";
				
						sensor_model ="sgx-yuv-gmsl";
						//sync_sensor = "HAWK1";
						//sync_sensor_index = <1>;
				
						/* Defines number of frames to be dropped by driver internally after applying */
						/* sensor crop settings. Some sensors send corrupt frames after applying */
						/* crop co-ordinates */
						post_crop_frame_drop = "0";
				
						/* Convert Gain to unit of dB (decibel) befor passing to kernel driver */
						use_decibel_gain = "true";
				
						/* enable CID_SENSOR_MODE_ID for sensor modes selection */
						use_sensor_mode_id = "true";
				
						mode0 {/*mode 1280x720@30fps*/
								mclk_khz = "24000";
								num_lanes = "4";
								tegra_sinterface = "serial_c";
								phy_mode = "DPHY";
								vc_id = "0";
								discontinuous_clk = "no";
								dpcm_enable = "false";
								cil_settletime = "0";
								lane_polarity = "0";
								dynamic_pixel_bit_depth = "16";
								csi_pixel_bit_depth = "16";
								mode_type = "yuv";
								pixel_phase = "uyvy";
				
								active_w = "1280";
								active_h = "720";
								readout_orientation = "0";
								line_length = "1280";
								inherent_gain = "1";
								pix_clk_hz = "240000000";
								serdes_pix_clk_hz = "350000000";
				
								gain_factor = "100";
								min_gain_val = "100"; /* dB */
								max_gain_val = "1600"; /* dB */
								step_gain_val = "1"; /* 0.1 */
								default_gain = "100";
								min_hdr_ratio = "1";
								max_hdr_ratio = "1";
								framerate_factor = "1000000";
								min_framerate = "30000000";
								max_framerate = "30000000";
								step_framerate = "1";
								default_framerate = "30000000";
								exposure_factor = "1000000";
								min_exp_time = "28"; /*us, 2 lines*/
								max_exp_time = "22000";
								step_exp_time = "1";
								default_exp_time = "22000";/* us */
								embedded_metadata_height = "0";
						};
						mode1 {/*mode 1920x1080@30fps*/
								mclk_khz = "24000";
								num_lanes = "4";
								tegra_sinterface = "serial_c";
								phy_mode = "DPHY";
								vc_id = "0";
								discontinuous_clk = "no";
								dpcm_enable = "false";
								cil_settletime = "0";
								lane_polarity = "0";
								dynamic_pixel_bit_depth = "16";
								csi_pixel_bit_depth = "16";
								mode_type = "yuv";
								pixel_phase = "uyvy";
								
								active_w = "1920";
								active_h = "1080";
								readout_orientation = "0";
								line_length = "2200";
								inherent_gain = "1";
								pix_clk_hz = "200000000";
								serdes_pix_clk_hz = "350000000";
				
								gain_factor = "10";
								min_gain_val = "1"; /* dB */
								max_gain_val = "300"; /* dB */
								step_gain_val = "3"; /* 0.3 */
								default_gain = "1";
								min_hdr_ratio = "1";
								max_hdr_ratio = "1";
								framerate_factor = "1000000";
								min_framerate = "30000000";
								max_framerate = "30000000";
								step_framerate = "1";
								default_framerate = "30000000";
								exposure_factor = "1000000";
								min_exp_time = "59"; /*us, 2 lines*/
								max_exp_time = "33333";
								step_exp_time = "1";
								default_exp_time = "33333";/* us */
								embedded_metadata_height = "0";
						};
						mode2 {/*mode 1920x1536@30fps*/
								mclk_khz = "24000";
								num_lanes = "4";
								tegra_sinterface = "serial_c";
								phy_mode = "DPHY";
								vc_id = "0";
								discontinuous_clk = "no";
								dpcm_enable = "false";
								cil_settletime = "0";
								lane_polarity = "0";
								dynamic_pixel_bit_depth = "16";
								csi_pixel_bit_depth = "16";
								mode_type = "yuv";
								pixel_phase = "uyvy";

								active_w = "1920";
								active_h = "1536";
								readout_orientation = "0";
								line_length = "1920";
								inherent_gain = "1";
								//mclk_multiplier = "3.01";
								pix_clk_hz = "300000000";
								serdes_pix_clk_hz = "350000000";

								gain_factor = "100";
								min_gain_val = "100"; /* dB */
								max_gain_val = "1600"; /* dB */
								step_gain_val = "1"; /* 0.1 */
								default_gain = "100";
								min_hdr_ratio = "1";
								max_hdr_ratio = "1";
								framerate_factor = "1000000";
								min_framerate = "30000000";
								max_framerate = "30000000";
								step_framerate = "1";
								default_framerate = "30000000";
								exposure_factor = "1000000";
								min_exp_time = "28"; /*us, 2 lines*/
								max_exp_time = "22000";
								step_exp_time = "1";
								default_exp_time = "22000";/* us */
								embedded_metadata_height = "0";
						};
						mode3 {//(2880*1680)
								mclk_khz = "24000";
								num_lanes = "4";
								tegra_sinterface = "serial_c";
								phy_mode = "DPHY";
								vc_id = "0";
								discontinuous_clk = "no";
								dpcm_enable = "false";
								cil_settletime = "0";
								lane_polarity = "0";
								dynamic_pixel_bit_depth = "16";
								csi_pixel_bit_depth = "16";
								mode_type = "yuv";
								pixel_phase = "uyvy";

								active_w = "2880";
								active_h = "1860";
								readout_orientation = "0";
								line_length = "2880";
								inherent_gain = "1";
								pix_clk_hz = "350000000";
								serdes_pix_clk_hz = "625000000";

								gain_factor = "10";
								min_gain_val = "10"; /* dB */
								max_gain_val = "300"; /* dB */
								step_gain_val = "3"; /* 0.3 */
								default_gain = "10";
								min_hdr_ratio = "1";
								max_hdr_ratio = "1";
								framerate_factor = "1000000";
								min_framerate = "30000000";
								max_framerate = "30000000";
								step_framerate = "1";
								default_framerate = "30000000";
								exposure_factor = "1000000";
								min_exp_time = "59"; /*us, 2 lines*/
								max_exp_time = "33333";
								step_exp_time = "1";
								default_exp_time = "33333";/* us */
								embedded_metadata_height = "0";
						};
						mode4 {//(3840*2160)
								mclk_khz = "24000";
								num_lanes = "4";
								tegra_sinterface = "serial_c";
								vc_id = "0";
								discontinuous_clk = "no";
								dpcm_enable = "false";
								cil_settletime = "0";
								lane_polarity = "0";
								dynamic_pixel_bit_depth = "16";
								csi_pixel_bit_depth = "16";
								mode_type = "yuv";
								pixel_phase = "uyvy";

								active_w = "3840";
								active_h = "2160";
								readout_orientation = "0";
								line_length = "4200";
								inherent_gain = "1";
								pix_clk_hz = "320000000";
								serdes_pix_clk_hz = "700000000";

								gain_factor = "10";
								min_gain_val = "10"; /* dB */
								max_gain_val = "300"; /* dB */
								step_gain_val = "3"; /* 0.3 */
								default_gain = "10";
								min_hdr_ratio = "1";
								max_hdr_ratio = "1";
								framerate_factor = "1000000";
								min_framerate = "30000000";
								max_framerate = "30000000";
								step_framerate = "1";
								default_framerate = "30000000";
								exposure_factor = "1000000";
								min_exp_time = "59"; /*us, 2 lines*/
								max_exp_time = "33333";
								step_exp_time = "1";
								default_exp_time = "33333";/* us */
								embedded_metadata_height = "0";
						};
						ports {
							#address-cells = <1>;
							#size-cells = <0>;
							port@0 {
								reg = <0>;
								cam_csi_out2: endpoint {
									vc-id = <0>;
									port-index = <2>;
									bus-width = <4>;
									remote-endpoint = <&jetson_csi_in2>;
								};
							};
						};
					};	

					ser_3@44 {
						compatible = "sensing,ser_3";
						reg = <0x44>;
						def_addr = <0x40>;
					};
					ser_2@43 {
						compatible = "sensing,ser_2";
						reg = <0x43>;
						def_addr = <0x40>;
					};
					ser_1@42 {
						compatible = "sensing,ser_1";
						reg = <0x42>;
						def_addr = <0x40>;
					};
					ser_0@41 {
						compatible = "sensing,ser_0";
						reg = <0x41>;
						def_addr = <0x40>;
					};
					
					max96712_0@2d {
						compatible = "maxim,max96712_0";
						reg = <0x2d>;
						// reset-gpios = <&tegra_main_gpio CAM0_PWDN GPIO_ACTIVE_HIGH>;
						// poc-gpios = <&tegra_main_gpio POC_EN GPIO_ACTIVE_LOW>;
					};				
				};
			};
		};
	};
};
